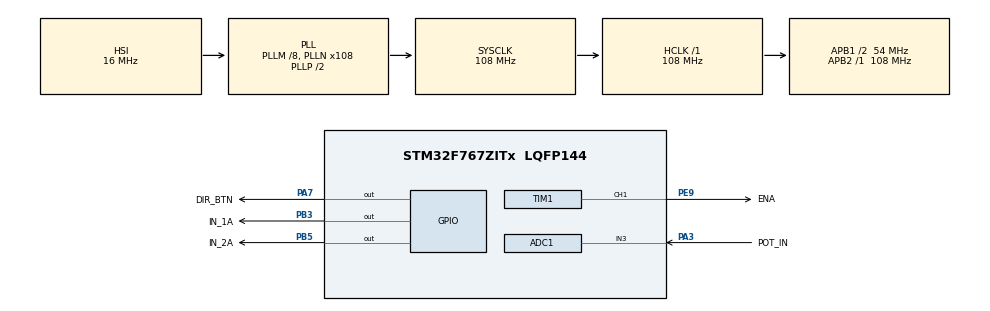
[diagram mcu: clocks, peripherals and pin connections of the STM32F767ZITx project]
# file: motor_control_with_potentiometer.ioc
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ADC1.Channel-0\#ChannelRegularConversion=ADC_CHANNEL_3
ADC1.NbrOfConversionFlag=1
ADC1.Rank-0\#ChannelRegularConversion=1
ADC1.SamplingTime-0\#ChannelRegularConversion=ADC_SAMPLETIME_3CYCLES
ADC1.master=1
Mcu.Family=STM32F7
Mcu.Name=STM32F767ZITx
Mcu.Package=LQFP144
NVIC.PriorityGroup=NVIC_PRIORITYGROUP_4
PA3.GPIO_Label=POT_IN
PA3.Signal=ADCx_IN3
PA7.GPIO_Label=DIR_BTN
PA7.Signal=GPIO_Output
PB3.GPIO_Label=IN_1A
PB3.Signal=GPIO_Output
PB5.GPIO_Label=IN_2A
PB5.Signal=GPIO_Output
PE9.GPIO_Label=ENA
PE9.Signal=S_TIM1_CH1
PH0/OSC_IN.Mode=HSE-External-Oscillator
PH0/OSC_IN.Signal=RCC_OSC_IN
PH1/OSC_OUT.Mode=HSE-External-Oscillator
PH1/OSC_OUT.Signal=RCC_OSC_OUT
ProjectManager.HeapSize=0x200
ProjectManager.StackSize=0x400
ProjectManager.TargetToolchain=STM32CubeIDE
RCC.48MHZClocksFreq_Value=24000000
RCC.AHBFreq_Value=108000000
RCC.APB1CLKDivider=RCC_HCLK_DIV2
RCC.APB1Freq_Value=54000000
RCC.APB1TimFreq_Value=108000000
RCC.APB2Freq_Value=108000000
RCC.APB2TimFreq_Value=108000000
RCC.CortexFreq_Value=108000000
RCC.HCLKFreq_Value=108000000
RCC.HSE_VALUE=8000000
RCC.HSI_VALUE=16000000
RCC.LSE_VALUE=32768
RCC.PLLM=8
RCC.PLLMUL=RCC_PLL_MUL9
RCC.PLLN=108
RCC.PRESCALERUSB=RCC_USBCLKSOURCE_PLL_DIV1_5
RCC.SYSCLKFreq_VALUE=108000000
RCC.SYSCLKSource=RCC_SYSCLKSOURCE_PLLCLK
RCC.SYSCLKSourceVirtual=RCC_SYSCLKSOURCE_PLLCLK
RCC.USBFreq_Value=108000000
RCC.VCOOutputFreq_Value=216000000
SH.ADCx_IN3.0=ADC1_IN3,IN3
SH.S_TIM1_CH1.0=TIM1_CH1,PWM Generation1 CH1
TIM1.Channel-PWM\ Generation1\ CH1=TIM_CHANNEL_1
TIM1.Period=999
TIM1.Prescaler=108-1
VP_TIM1_VS_ClockSourceINT.Mode=Internal
board=NUCLEO-F767ZI

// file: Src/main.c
/* USER CODE BEGIN Header */
/**
  ******************************************************************************
  * @file           : main.c
  * @brief          : Main program body
  ******************************************************************************
  * @attention
  *
  * Copyright (c) 2025 STMicroelectronics.
  * All rights reserved.
  *
  * This software is licensed under terms that can be found in the LICENSE file
  * in the root directory of this software component.
  * If no LICENSE file comes with this software, it is provided AS-IS.
  *
  ******************************************************************************
  */
/* USER CODE END Header */
#include "main.h"

/* USER CODE BEGIN PTD */
// Define the states for the Motor Finite State Machine
typedef enum {
    MOTOR_STATE_STOP = 0, // Explicitly set to 0
    MOTOR_STATE_CW,       // Defaults to 1
    MOTOR_STATE_CCW       // Defaults to 2
} MotorState_t;
/* USER CODE END PTD */

/* USER CODE BEGIN PD */
#define ADC_MAX_VALUE 4095      // Max value for 12-bit ADC
#define PWM_MAX_VALUE 999       // TIM1 Period value (0 to 999 = 1000 counts)
#define MIN_ACTIVE_SPEED 100    // Minimum PWM value to overcome motor friction (approx 10%)
#define DEBOUNCE_TIME_MS 100    // Debounce time for button

/* USER CODE END PD */

ADC_HandleTypeDef hadc1;

TIM_HandleTypeDef htim1;

/* USER CODE BEGIN PV */
uint32_t adc_value = 0;
uint32_t current_pwm = 0;
MotorState_t current_motor_state = MOTOR_STATE_STOP; // Initial state
GPIO_PinState last_dir_btn_state = GPIO_PIN_RESET;
uint32_t last_button_press_time = 0;

/* USER CODE END PV */

void SystemClock_Config(void);
static void MX_GPIO_Init(void);
static void MX_TIM1_Init(void);
static void MX_ADC1_Init(void);

int main(void)
{

  /* MCU Configuration--------------------------------------------------------*/

  /* Reset of all peripherals, Initializes the Flash interface and the Systick. */
  HAL_Init();

  /* Configure the system clock */
  SystemClock_Config();

  /* Initialize all configured peripherals */
  MX_GPIO_Init();
  MX_TIM1_Init();
  MX_ADC1_Init();
  /* USER CODE BEGIN 2 */
  HAL_TIM_PWM_Start(&htim1, TIM_CHANNEL_1);  // Note that htim1 is the handle generated by CubeMX for TIM1
  __HAL_TIM_MOE_ENABLE(&htim1); // Enabling Main Output Enable (MOE) allows the timer output channels (PWM CH1 here) to be activated
  /* USER CODE END 2 */

  /* Infinite loop */
  while (1)
  {

    /* USER CODE BEGIN 3 */
    // 1. Read ADC Value (You can copy this from the ADC lecture)
    HAL_ADC_Start(&hadc1);
    HAL_ADC_PollForConversion(&hadc1, HAL_MAX_DELAY);
    adc_value = HAL_ADC_GetValue(&hadc1);
    HAL_ADC_Stop(&hadc1);

    // 2. Map ADC Value to PWM Duty Cycle
    // Scale 0-4095 to 0-999 (PWM_MAX_VALUE)
    current_pwm = (adc_value * PWM_MAX_VALUE) / ADC_MAX_VALUE;

    // Add a dead band. Not necessary but for optimization
    // if the pot is near zero, set speed to 0
    if (adc_value < 50) {
        current_pwm = 0;
    }

    // 3. Button (FSM) State Transition Logic
    GPIO_PinState current_dir_btn_state = HAL_GPIO_ReadPin(DIR_BTN_GPIO_Port, DIR_BTN_Pin);
    uint32_t current_time = HAL_GetTick();

    // Debouncer here, but if you'd use the button on the board,
    // it would have been less needed.
    if (current_dir_btn_state == GPIO_PIN_RESET && last_dir_btn_state == GPIO_PIN_SET &&
        (current_time - last_button_press_time) > DEBOUNCE_TIME_MS)
    {
        switch (current_motor_state) {
            case MOTOR_STATE_STOP:
                current_motor_state = MOTOR_STATE_CW;
                break;
            case MOTOR_STATE_CW:
                current_motor_state = MOTOR_STATE_CCW;
                break;
            case MOTOR_STATE_CCW:
                current_motor_state = MOTOR_STATE_STOP;
                break;
        }
        last_button_press_time = current_time; // Update timestamp
    }
    last_dir_btn_state = current_dir_btn_state; // Update last state for edge detection

    // 4. Finally FSM Execution: Apply Direction and Speed
    switch (current_motor_state) {
        case MOTOR_STATE_CW:
            // Set Direction CW (IN_1A HIGH, IN_2A LOW)
            HAL_GPIO_WritePin(IN_1A_GPIO_Port, IN_1A_Pin, GPIO_PIN_SET);
            HAL_GPIO_WritePin(IN_2A_GPIO_Port, IN_2A_Pin, GPIO_PIN_RESET);
            // Apply current speed
            __HAL_TIM_SET_COMPARE(&htim1, TIM_CHANNEL_1, current_pwm);
            break;

        case MOTOR_STATE_CCW:
            // Set Direction CCW (IN_1A LOW, IN_2A HIGH)
            HAL_GPIO_WritePin(IN_1A_GPIO_Port, IN_1A_Pin, GPIO_PIN_RESET);
            HAL_GPIO_WritePin(IN_2A_GPIO_Port, IN_2A_Pin, GPIO_PIN_SET);
            // Apply current speed
            __HAL_TIM_SET_COMPARE(&htim1, TIM_CHANNEL_1, current_pwm);
            break;

        case MOTOR_STATE_STOP:
        default:
            // Stop motor (Both direction pins LOW, PWM to 0)
            HAL_GPIO_WritePin(IN_1A_GPIO_Port, IN_1A_Pin, GPIO_PIN_RESET);
            HAL_GPIO_WritePin(IN_2A_GPIO_Port, IN_2A_Pin, GPIO_PIN_RESET);
            __HAL_TIM_SET_COMPARE(&htim1, TIM_CHANNEL_1, 0);
            break;
    }
    HAL_Delay(10); // Just a small dealy
  }
  /* USER CODE END 3 */
}

void SystemClock_Config(void)
{
  RCC_OscInitTypeDef RCC_OscInitStruct = {0};
  RCC_ClkInitTypeDef RCC_ClkInitStruct = {0};

  /** Configure the main internal regulator output voltage
  */
  __HAL_RCC_PWR_CLK_ENABLE();
  __HAL_PWR_VOLTAGESCALING_CONFIG(PWR_REGULATOR_VOLTAGE_SCALE3);

  /** Initializes the RCC Oscillators according to the specified parameters
  * in the RCC_OscInitTypeDef structure.
  */
  RCC_OscInitStruct.OscillatorType = RCC_OSCILLATORTYPE_HSI;
  RCC_OscInitStruct.HSIState = RCC_HSI_ON;
  RCC_OscInitStruct.HSICalibrationValue = RCC_HSICALIBRATION_DEFAULT;
  RCC_OscInitStruct.PLL.PLLState = RCC_PLL_ON;
  RCC_OscInitStruct.PLL.PLLSource = RCC_PLLSOURCE_HSI;
  RCC_OscInitStruct.PLL.PLLM = 8;
  RCC_OscInitStruct.PLL.PLLN = 108;
  RCC_OscInitStruct.PLL.PLLP = RCC_PLLP_DIV2;
  RCC_OscInitStruct.PLL.PLLQ = 2;
  RCC_OscInitStruct.PLL.PLLR = 2;
  if (HAL_RCC_OscConfig(&RCC_OscInitStruct) != HAL_OK)
  {
    Error_Handler();
  }

  /** Activate the Over-Drive mode
  */
  if (HAL_PWREx_EnableOverDrive() != HAL_OK)
  {
    Error_Handler();
  }

  /** Initializes the CPU, AHB and APB buses clocks
  */
  RCC_ClkInitStruct.ClockType = RCC_CLOCKTYPE_HCLK|RCC_CLOCKTYPE_SYSCLK
                              |RCC_CLOCKTYPE_PCLK1|RCC_CLOCKTYPE_PCLK2;
  RCC_ClkInitStruct.SYSCLKSource = RCC_SYSCLKSOURCE_PLLCLK;
  RCC_ClkInitStruct.AHBCLKDivider = RCC_SYSCLK_DIV1;
  RCC_ClkInitStruct.APB1CLKDivider = RCC_HCLK_DIV2;
  RCC_ClkInitStruct.APB2CLKDivider = RCC_HCLK_DIV1;

  if (HAL_RCC_ClockConfig(&RCC_ClkInitStruct, FLASH_LATENCY_3) != HAL_OK)
  {
    Error_Handler();
  }
}

static void MX_ADC1_Init(void)
{

  ADC_ChannelConfTypeDef sConfig = {0};

  /** Configure the global features of the ADC (Clock, Resolution, Data Alignment and number of conversion)
  */
  hadc1.Instance = ADC1;
  hadc1.Init.ClockPrescaler = ADC_CLOCK_SYNC_PCLK_DIV4;
  hadc1.Init.Resolution = ADC_RESOLUTION_12B;
  hadc1.Init.ScanConvMode = ADC_SCAN_DISABLE;
  hadc1.Init.ContinuousConvMode = DISABLE;
  hadc1.Init.DiscontinuousConvMode = DISABLE;
  hadc1.Init.ExternalTrigConvEdge = ADC_EXTERNALTRIGCONVEDGE_NONE;
  hadc1.Init.ExternalTrigConv = ADC_SOFTWARE_START;
  hadc1.Init.DataAlign = ADC_DATAALIGN_RIGHT;
  hadc1.Init.NbrOfConversion = 1;
  hadc1.Init.DMAContinuousRequests = DISABLE;
  hadc1.Init.EOCSelection = ADC_EOC_SINGLE_CONV;
  if (HAL_ADC_Init(&hadc1) != HAL_OK)
  {
    Error_Handler();
  }

  /** Configure for the selected ADC regular channel its corresponding rank in the sequencer and its sample time.
  */
  sConfig.Channel = ADC_CHANNEL_3;
  sConfig.Rank = ADC_REGULAR_RANK_1;
  sConfig.SamplingTime = ADC_SAMPLETIME_3CYCLES;
  if (HAL_ADC_ConfigChannel(&hadc1, &sConfig) != HAL_OK)
  {
    Error_Handler();
  }

}

static void MX_TIM1_Init(void)
{

  TIM_ClockConfigTypeDef sClockSourceConfig = {0};
  TIM_MasterConfigTypeDef sMasterConfig = {0};
  TIM_OC_InitTypeDef sConfigOC = {0};
  TIM_BreakDeadTimeConfigTypeDef sBreakDeadTimeConfig = {0};

  htim1.Instance = TIM1;
  htim1.Init.Prescaler = 108-1;
  htim1.Init.CounterMode = TIM_COUNTERMODE_UP;
  htim1.Init.Period = 999;
  htim1.Init.ClockDivision = TIM_CLOCKDIVISION_DIV1;
  htim1.Init.RepetitionCounter = 0;
  htim1.Init.AutoReloadPreload = TIM_AUTORELOAD_PRELOAD_DISABLE;
  if (HAL_TIM_Base_Init(&htim1) != HAL_OK)
  {
    Error_Handler();
  }
  sClockSourceConfig.ClockSource = TIM_CLOCKSOURCE_INTERNAL;
  if (HAL_TIM_ConfigClockSource(&htim1, &sClockSourceConfig) != HAL_OK)
  {
    Error_Handler();
  }
  if (HAL_TIM_PWM_Init(&htim1) != HAL_OK)
  {
    Error_Handler();
  }
  sMasterConfig.MasterOutputTrigger = TIM_TRGO_RESET;
  sMasterConfig.MasterOutputTrigger2 = TIM_TRGO2_RESET;
  sMasterConfig.MasterSlaveMode = TIM_MASTERSLAVEMODE_DISABLE;
  if (HAL_TIMEx_MasterConfigSynchronization(&htim1, &sMasterConfig) != HAL_OK)
  {
    Error_Handler();
  }
  sConfigOC.OCMode = TIM_OCMODE_PWM1;
  sConfigOC.Pulse = 0;
  sConfigOC.OCPolarity = TIM_OCPOLARITY_HIGH;
  sConfigOC.OCNPolarity = TIM_OCNPOLARITY_HIGH;
  sConfigOC.OCFastMode = TIM_OCFAST_DISABLE;
  sConfigOC.OCIdleState = TIM_OCIDLESTATE_RESET;
  sConfigOC.OCNIdleState = TIM_OCNIDLESTATE_RESET;
  if (HAL_TIM_PWM_ConfigChannel(&htim1, &sConfigOC, TIM_CHANNEL_1) != HAL_OK)
  {
    Error_Handler();
  }
  sBreakDeadTimeConfig.OffStateRunMode = TIM_OSSR_DISABLE;
  sBreakDeadTimeConfig.OffStateIDLEMode = TIM_OSSI_DISABLE;
  sBreakDeadTimeConfig.LockLevel = TIM_LOCKLEVEL_OFF;
  sBreakDeadTimeConfig.DeadTime = 0;
  sBreakDeadTimeConfig.BreakState = TIM_BREAK_DISABLE;
  sBreakDeadTimeConfig.BreakPolarity = TIM_BREAKPOLARITY_HIGH;
  sBreakDeadTimeConfig.BreakFilter = 0;
  sBreakDeadTimeConfig.Break2State = TIM_BREAK2_DISABLE;
  sBreakDeadTimeConfig.Break2Polarity = TIM_BREAK2POLARITY_HIGH;
  sBreakDeadTimeConfig.Break2Filter = 0;
  sBreakDeadTimeConfig.AutomaticOutput = TIM_AUTOMATICOUTPUT_DISABLE;
  if (HAL_TIMEx_ConfigBreakDeadTime(&htim1, &sBreakDeadTimeConfig) != HAL_OK)
  {
    Error_Handler();
  }
  HAL_TIM_MspPostInit(&htim1);

}

static void MX_GPIO_Init(void)
{
  GPIO_InitTypeDef GPIO_InitStruct = {0};

  /* GPIO Ports Clock Enable */
  __HAL_RCC_GPIOH_CLK_ENABLE();
  __HAL_RCC_GPIOA_CLK_ENABLE();
  __HAL_RCC_GPIOE_CLK_ENABLE();
  __HAL_RCC_GPIOB_CLK_ENABLE();

  /*Configure GPIO pin Output Level */
  HAL_GPIO_WritePin(DIR_BTN_GPIO_Port, DIR_BTN_Pin, GPIO_PIN_RESET);

  /*Configure GPIO pin Output Level */
  HAL_GPIO_WritePin(GPIOB, IN_1A_Pin|IN_2A_Pin, GPIO_PIN_RESET);

  /*Configure GPIO pin : DIR_BTN_Pin */
  GPIO_InitStruct.Pin = DIR_BTN_Pin;
  GPIO_InitStruct.Mode = GPIO_MODE_OUTPUT_PP;
  GPIO_InitStruct.Pull = GPIO_NOPULL;
  GPIO_InitStruct.Speed = GPIO_SPEED_FREQ_LOW;
  HAL_GPIO_Init(DIR_BTN_GPIO_Port, &GPIO_InitStruct);

  /*Configure GPIO pins : IN_1A_Pin IN_2A_Pin */
  GPIO_InitStruct.Pin = IN_1A_Pin|IN_2A_Pin;
  GPIO_InitStruct.Mode = GPIO_MODE_OUTPUT_PP;
  GPIO_InitStruct.Pull = GPIO_NOPULL;
  GPIO_InitStruct.Speed = GPIO_SPEED_FREQ_LOW;
  HAL_GPIO_Init(GPIOB, &GPIO_InitStruct);

}

void Error_Handler(void)
{
  __disable_irq();
  while (1)
  {
  }
}
